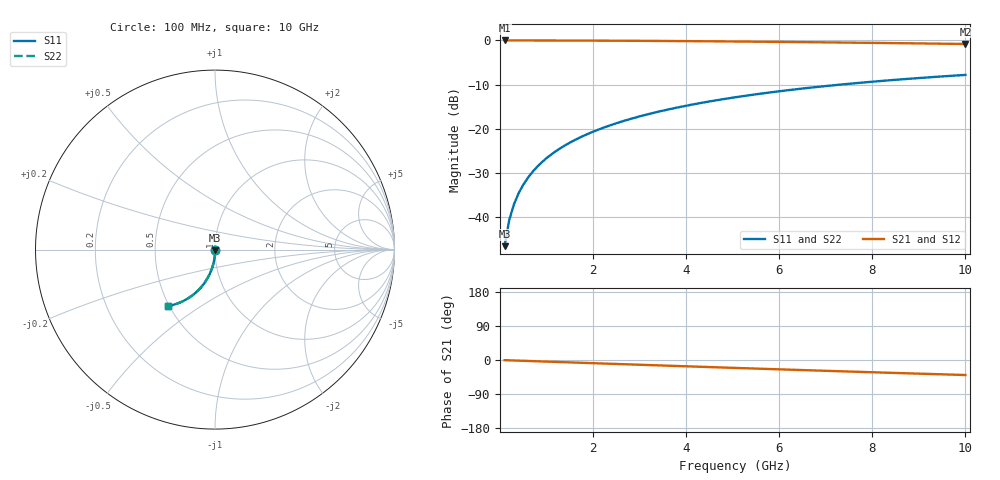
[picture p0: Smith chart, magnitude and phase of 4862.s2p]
# Hz S RI R 50.00
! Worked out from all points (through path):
!   100 points, 100 MHz to 10 GHz, reference 50 ohm
!   highest |S21| = -0.01 dB at 100 MHz (marker M1); lowest = -0.8 dB at 10 GHz (marker M2)
!   group delay of S21, straight-line fit = 11 ps
!   lowest |S11| = -46.5 dB at 100 MHz (marker M3), VSWR 1.01, Z = 50.1 - j0.469 ohm
!   |S11| at or under -10 dB: start of sweep to 7.296 GHz
!   |S22| runs from -46.5 to -7.8 dB; largest |S21 - S12| = 0
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1e8  0.000731 -0.00469  0.9992 -0.00732  0.9992 -0.00732  0.000731 -0.00469
2e8  0.000627 -0.00937  0.9991 -0.0146  0.9991 -0.0146  0.000627 -0.00937
3e8  0.000454 -0.0141  0.9989 -0.022  0.9989 -0.022  0.000454 -0.0141
4e8  0.000211 -0.0187  0.9986 -0.0293  0.9986 -0.0293  0.000211 -0.0187
5e8  -0.000101 -0.0234  0.9982 -0.0366  0.9982 -0.0366  -0.000101 -0.0234
6e8  -0.000481 -0.0281  0.9978 -0.0439  0.9978 -0.0439  -0.000481 -0.0281
7e8  -0.000929 -0.0327  0.9973 -0.0512  0.9973 -0.0512  -0.000929 -0.0327
8e8  -0.00145 -0.0374  0.9967 -0.0585  0.9967 -0.0585  -0.00145 -0.0374
9e8  -0.00203 -0.042  0.9961 -0.0658  0.9961 -0.0658  -0.00203 -0.042
1.1e9  -0.0034 -0.0513  0.9946 -0.0803  0.9946 -0.0803  -0.0034 -0.0513
1.4e9  -0.00597 -0.0651  0.9917 -0.102  0.9917 -0.102  -0.00597 -0.0651
1.8e9  -0.0103 -0.0832  0.9869 -0.1307  0.9869 -0.1307  -0.0103 -0.0832
2.1e9  -0.0142 -0.0966  0.9826 -0.152  0.9826 -0.152  -0.0142 -0.0966
2.5e9  -0.0204 -0.1142  0.9758 -0.1801  0.9758 -0.1801  -0.0204 -0.1142
2.9e9  -0.0275 -0.1312  0.9679 -0.2078  0.9679 -0.2078  -0.0275 -0.1312
3.4e9  -0.0377 -0.1518  0.9566 -0.2416  0.9566 -0.2416  -0.0377 -0.1518
4.2e9  -0.0568 -0.1829  0.9353 -0.2939  0.9353 -0.2939  -0.0568 -0.1829
5.1e9  -0.0821 -0.2146  0.907 -0.3495  0.907 -0.3495  -0.0821 -0.2146
5.9e9  -0.1073 -0.2395  0.8787 -0.3958  0.8787 -0.3958  -0.1073 -0.2395
6.7e9  -0.1346 -0.2611  0.8477 -0.4389  0.8477 -0.4389  -0.1346 -0.2611
8.4e9  -0.1975 -0.2957  0.7753 -0.5193  0.7753 -0.5193  -0.1975 -0.2957
1e10  -0.2596 -0.3142  0.7021 -0.5814  0.7021 -0.5814  -0.2596 -0.3142
